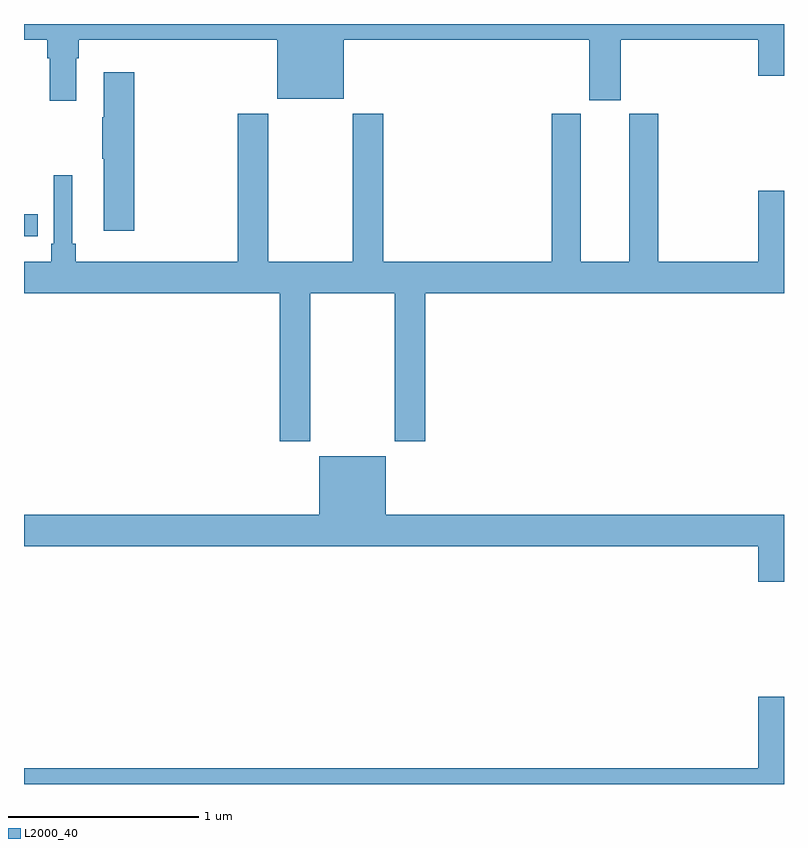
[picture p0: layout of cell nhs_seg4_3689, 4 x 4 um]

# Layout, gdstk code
import gdstk
lib = gdstk.Library(unit=1e-6, precision=1e-09)
def R(c, l, rs):  # rectangles x0, y0, x1, y1
    for r in rs: c.add(gdstk.rectangle(r[:2], r[2:], *l))
def P(c, l, *ps):  # polygons
    for p in ps: c.add(gdstk.Polygon(p, *l))
L2000_40 = (2000, 40)

nhs_seg4_3689 = lib.new_cell('nhs_seg4_3689')
R(nhs_seg4_3689, L2000_40, [(305,799.782,305.072,799.898)])
P(nhs_seg4_3689, L2000_40, [(305.275,800.72),(305.288,800.72),(305.288,800.816),(306.332,800.816),(306.332,800.507),(306.682,800.507),(306.682,800.816),(307.976,800.816),(307.976,800.499),(308.14,800.499),(308.14,800.816),(308.864,800.816),(308.864,800.628),(309,800.628),(309,800.9),(305,800.9),(305,800.816),(305.123,800.816),(305.123,800.72),(305.135,800.72),(305.135,800.496),(305.275,800.496)],
  [(305.579,800.647),(305.42,800.647),(305.42,800.408),(305.413,800.408),(305.413,800.191),(305.42,800.191),(305.42,799.812),(305.579,799.812)],
  [(306.507,799.484),(306.952,799.484),(306.952,798.705),(307.112,798.705),(307.112,799.484),(309,799.484),(309,800.023),(308.864,800.023),(308.864,799.648),(308.339,799.648),(308.339,800.427),(308.186,800.427),(308.186,799.648),(307.93,799.648),(307.93,800.427),(307.778,800.427),(307.778,799.648),(306.89,799.648),(306.89,800.428),(306.73,800.428),(306.73,799.648),(306.285,799.648),(306.285,800.428),(306.125,800.428),(306.125,799.648),(305.273,799.648),(305.273,799.744),(305.254,799.744),(305.254,800.104),(305.157,800.104),(305.157,799.744),(305.144,799.744),(305.144,799.648),(305,799.648),(305,799.484),(306.347,799.484),(306.347,798.705),(306.507,798.705)],
  [(309,798.316),(306.904,798.316),(306.904,798.625),(306.554,798.625),(306.554,798.316),(305,798.316),(305,798.152),(308.864,798.152),(308.864,797.964),(309,797.964)],
  [(309,797.359),(308.864,797.359),(308.864,796.984),(305,796.984),(305,796.9),(309,796.9)])

lib.write_gds('nhs_seg4_3689.gds')
